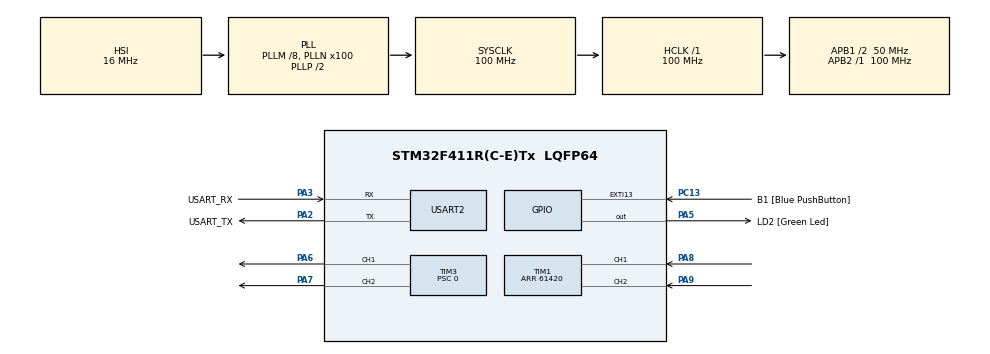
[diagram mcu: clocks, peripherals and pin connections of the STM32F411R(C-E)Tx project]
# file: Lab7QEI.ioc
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Mcu.Family=STM32F4
Mcu.Name=STM32F411R(C-E)Tx
Mcu.Package=LQFP64
NVIC.PriorityGroup=NVIC_PRIORITYGROUP_0
NVIC.TIM2_IRQn=true\:0\:0\:false\:false\:true\:true\:true
PA13.GPIO_Label=TMS
PA13.Mode=Serial_Wire
PA13.Signal=SYS_JTMS-SWDIO
PA14.GPIO_Label=TCK
PA14.Mode=Serial_Wire
PA14.Signal=SYS_JTCK-SWCLK
PA2.GPIO_Label=USART_TX
PA2.Mode=Asynchronous
PA2.Signal=USART2_TX
PA3.GPIO_Label=USART_RX
PA3.Mode=Asynchronous
PA3.Signal=USART2_RX
PA5.GPIO_Label=LD2 [Green Led]
PA5.Signal=GPIO_Output
PA6.Signal=S_TIM3_CH1
PA7.Signal=S_TIM3_CH2
PA8.Signal=S_TIM1_CH1
PA9.Signal=S_TIM1_CH2
PB3.GPIO_Label=SWO
PB3.Signal=SYS_JTDO-SWO
PC13-ANTI_TAMP.GPIO_Label=B1 [Blue PushButton]
PC13-ANTI_TAMP.GPIO_ModeDefaultEXTI=GPIO_MODE_IT_FALLING
PC13-ANTI_TAMP.Signal=GPXTI13
PC14-OSC32_IN.Mode=LSE-External-Oscillator
PC14-OSC32_IN.Signal=RCC_OSC32_IN
PC15-OSC32_OUT.Mode=LSE-External-Oscillator
PC15-OSC32_OUT.Signal=RCC_OSC32_OUT
PH0\ -\ OSC_IN.Mode=HSE-External-Clock-Source
PH0\ -\ OSC_IN.Signal=RCC_OSC_IN
PH1\ -\ OSC_OUT.Mode=HSE-External-Clock-Source
PH1\ -\ OSC_OUT.Signal=RCC_OSC_OUT
ProjectManager.HeapSize=0x200
ProjectManager.StackSize=0x400
ProjectManager.TargetToolchain=STM32CubeIDE
RCC.48MHZClocksFreq_Value=50000000
RCC.AHBFreq_Value=100000000
RCC.APB1CLKDivider=RCC_HCLK_DIV2
RCC.APB1Freq_Value=50000000
RCC.APB1TimFreq_Value=100000000
RCC.APB2Freq_Value=100000000
RCC.APB2TimFreq_Value=100000000
RCC.CortexFreq_Value=100000000
RCC.FLatency-AdvancedSettings=FLASH_LATENCY_3
RCC.HCLKFreq_Value=100000000
RCC.HSE_VALUE=8000000
RCC.HSI_VALUE=16000000
RCC.PLLM=8
RCC.PLLN=100
RCC.SYSCLKFreq_VALUE=100000000
RCC.SYSCLKSource=RCC_SYSCLKSOURCE_PLLCLK
RCC.VCOOutputFreq_Value=200000000
SH.S_TIM1_CH1.0=TIM1_CH1,Encoder_Interface
SH.S_TIM1_CH2.0=TIM1_CH2,Encoder_Interface
SH.S_TIM3_CH1.0=TIM3_CH1,PWM Generation1 CH1
SH.S_TIM3_CH2.0=TIM3_CH2,PWM Generation2 CH2
TIM1.EncoderMode=TIM_ENCODERMODE_TI12
TIM1.Period=61420
TIM2.Prescaler=99
TIM3.Channel-PWM\ Generation1\ CH1=TIM_CHANNEL_1
TIM3.Channel-PWM\ Generation2\ CH2=TIM_CHANNEL_2
TIM3.Period=10000
TIM3.Prescaler=0
TIM3.TIM_MasterOutputTrigger=TIM_TRGO_RESET
USART2.VirtualMode=VM_ASYNC
VP_TIM2_VS_ClockSourceINT.Mode=Internal
VP_TIM3_VS_ClockSourceINT.Mode=Internal
board=NUCLEO-F411RE

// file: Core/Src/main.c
/* USER CODE BEGIN Header */
/**
 ******************************************************************************
 * @file           : main.c
 * @brief          : Main program body
 ******************************************************************************
 * @attention
 *
 * <h2><center>&copy; Copyright (c) 2021 STMicroelectronics.
 * All rights reserved.</center></h2>
 *
 * This software component is licensed by ST under BSD 3-Clause license,
 * the "License"; You may not use this file except in compliance with the
 * License. You may obtain a copy of the License at:
 *                        opensource.org/licenses/BSD-3-Clause
 *
 ******************************************************************************
 */
/* USER CODE END Header */
#include "main.h"

TIM_HandleTypeDef htim1;
TIM_HandleTypeDef htim2;
TIM_HandleTypeDef htim3;

UART_HandleTypeDef huart2;

/* USER CODE BEGIN PV */
uint64_t _micros = 0;
float EncoderVel = 0;
uint64_t Timestamp_Encoder = 0;

uint16_t PWMOut = 3000;

int setPoint = 15; //in RPM

//control
float uControl,sumError,preError = 0; // u,s,p
float error = 0;
float P=1,I=0,D=0;					  // PID

float RPMnow = 0;					  // from encoder

int sp = 0;
float nv = 0;
float offset = 0.5;

//int count = 0;
//int check = 0;

/* USER CODE END PV */

void SystemClock_Config(void);
static void MX_GPIO_Init(void);
static void MX_USART2_UART_Init(void);
static void MX_TIM1_Init(void);
static void MX_TIM2_Init(void);
static void MX_TIM3_Init(void);
/* USER CODE BEGIN PFP */

uint64_t micros();
float EncoderVelocity_Update();
void PIDcontrol();

/* USER CODE END PFP */

int main(void)
{

  /* MCU Configuration--------------------------------------------------------*/

  /* Reset of all peripherals, Initializes the Flash interface and the Systick. */
  HAL_Init();

  /* Configure the system clock */
  SystemClock_Config();

  /* Initialize all configured peripherals */
  MX_GPIO_Init();
  MX_USART2_UART_Init();
  MX_TIM1_Init();
  MX_TIM2_Init();
  MX_TIM3_Init();
  /* USER CODE BEGIN 2 */
	// start micros
	HAL_TIM_Base_Start_IT(&htim2);

	// start encoder
	HAL_TIM_Encoder_Start(&htim1, TIM_CHANNEL_ALL);

	// start pwm
	HAL_TIM_Base_Start(&htim3);
	HAL_TIM_PWM_Start(&htim3, TIM_CHANNEL_1);
	HAL_TIM_PWM_Start(&htim3, TIM_CHANNEL_2);

  /* USER CODE END 2 */

  /* Infinite loop */
	while (1)
	{

    /* USER CODE BEGIN 3 */

		//RAW Read
//		if (micros() - Timestamp_Encoder >= 1000)
//		{
//			Timestamp_Encoder = micros();
//			EncoderVel = EncoderVelocity_Update();
//		}

		//Add LPF?
		if (micros() - Timestamp_Encoder >= 1000) //mico
		{
			Timestamp_Encoder = micros();
			EncoderVel = (EncoderVel * 99 + EncoderVelocity_Update()) / 100.0;

			PIDcontrol();

			if (setPoint > 0)
			{
//				check = 0;
//				PWMOut += PIDcontrol(setPoint,EncoderVel);
				__HAL_TIM_SET_COMPARE(&htim3, TIM_CHANNEL_1, PWMOut);
				__HAL_TIM_SET_COMPARE(&htim3, TIM_CHANNEL_2, 0);
			}
			else if (setPoint == 0)
			{
				__HAL_TIM_SET_COMPARE(&htim3, TIM_CHANNEL_1, 0);
				__HAL_TIM_SET_COMPARE(&htim3, TIM_CHANNEL_2, 0);
			}
			else
			{
//				check = 1;
//				PWMOut += PIDcontrol(setPoint*(-1),EncoderVel*(-1));
				__HAL_TIM_SET_COMPARE(&htim3, TIM_CHANNEL_1, 0);
				__HAL_TIM_SET_COMPARE(&htim3, TIM_CHANNEL_2, PWMOut);
			}

		}

	}
  /* USER CODE END 3 */
}

void SystemClock_Config(void)
{
  RCC_OscInitTypeDef RCC_OscInitStruct = {0};
  RCC_ClkInitTypeDef RCC_ClkInitStruct = {0};

  /** Configure the main internal regulator output voltage
  */
  __HAL_RCC_PWR_CLK_ENABLE();
  __HAL_PWR_VOLTAGESCALING_CONFIG(PWR_REGULATOR_VOLTAGE_SCALE1);
  /** Initializes the RCC Oscillators according to the specified parameters
  * in the RCC_OscInitTypeDef structure.
  */
  RCC_OscInitStruct.OscillatorType = RCC_OSCILLATORTYPE_HSI;
  RCC_OscInitStruct.HSIState = RCC_HSI_ON;
  RCC_OscInitStruct.HSICalibrationValue = RCC_HSICALIBRATION_DEFAULT;
  RCC_OscInitStruct.PLL.PLLState = RCC_PLL_ON;
  RCC_OscInitStruct.PLL.PLLSource = RCC_PLLSOURCE_HSI;
  RCC_OscInitStruct.PLL.PLLM = 8;
  RCC_OscInitStruct.PLL.PLLN = 100;
  RCC_OscInitStruct.PLL.PLLP = RCC_PLLP_DIV2;
  RCC_OscInitStruct.PLL.PLLQ = 4;
  if (HAL_RCC_OscConfig(&RCC_OscInitStruct) != HAL_OK)
  {
    Error_Handler();
  }
  /** Initializes the CPU, AHB and APB buses clocks
  */
  RCC_ClkInitStruct.ClockType = RCC_CLOCKTYPE_HCLK|RCC_CLOCKTYPE_SYSCLK
                              |RCC_CLOCKTYPE_PCLK1|RCC_CLOCKTYPE_PCLK2;
  RCC_ClkInitStruct.SYSCLKSource = RCC_SYSCLKSOURCE_PLLCLK;
  RCC_ClkInitStruct.AHBCLKDivider = RCC_SYSCLK_DIV1;
  RCC_ClkInitStruct.APB1CLKDivider = RCC_HCLK_DIV2;
  RCC_ClkInitStruct.APB2CLKDivider = RCC_HCLK_DIV1;

  if (HAL_RCC_ClockConfig(&RCC_ClkInitStruct, FLASH_LATENCY_3) != HAL_OK)
  {
    Error_Handler();
  }
}

static void MX_TIM1_Init(void)
{

  TIM_Encoder_InitTypeDef sConfig = {0};
  TIM_MasterConfigTypeDef sMasterConfig = {0};

  htim1.Instance = TIM1;
  htim1.Init.Prescaler = 0;
  htim1.Init.CounterMode = TIM_COUNTERMODE_UP;
  htim1.Init.Period = 61420;
  htim1.Init.ClockDivision = TIM_CLOCKDIVISION_DIV1;
  htim1.Init.RepetitionCounter = 0;
  htim1.Init.AutoReloadPreload = TIM_AUTORELOAD_PRELOAD_DISABLE;
  sConfig.EncoderMode = TIM_ENCODERMODE_TI12;
  sConfig.IC1Polarity = TIM_ICPOLARITY_RISING;
  sConfig.IC1Selection = TIM_ICSELECTION_DIRECTTI;
  sConfig.IC1Prescaler = TIM_ICPSC_DIV1;
  sConfig.IC1Filter = 0;
  sConfig.IC2Polarity = TIM_ICPOLARITY_RISING;
  sConfig.IC2Selection = TIM_ICSELECTION_DIRECTTI;
  sConfig.IC2Prescaler = TIM_ICPSC_DIV1;
  sConfig.IC2Filter = 0;
  if (HAL_TIM_Encoder_Init(&htim1, &sConfig) != HAL_OK)
  {
    Error_Handler();
  }
  sMasterConfig.MasterOutputTrigger = TIM_TRGO_RESET;
  sMasterConfig.MasterSlaveMode = TIM_MASTERSLAVEMODE_DISABLE;
  if (HAL_TIMEx_MasterConfigSynchronization(&htim1, &sMasterConfig) != HAL_OK)
  {
    Error_Handler();
  }

}

static void MX_TIM2_Init(void)
{

  TIM_ClockConfigTypeDef sClockSourceConfig = {0};
  TIM_MasterConfigTypeDef sMasterConfig = {0};

  htim2.Instance = TIM2;
  htim2.Init.Prescaler = 99;
  htim2.Init.CounterMode = TIM_COUNTERMODE_UP;
  htim2.Init.Period = 4294967295;
  htim2.Init.ClockDivision = TIM_CLOCKDIVISION_DIV1;
  htim2.Init.AutoReloadPreload = TIM_AUTORELOAD_PRELOAD_DISABLE;
  if (HAL_TIM_Base_Init(&htim2) != HAL_OK)
  {
    Error_Handler();
  }
  sClockSourceConfig.ClockSource = TIM_CLOCKSOURCE_INTERNAL;
  if (HAL_TIM_ConfigClockSource(&htim2, &sClockSourceConfig) != HAL_OK)
  {
    Error_Handler();
  }
  sMasterConfig.MasterOutputTrigger = TIM_TRGO_RESET;
  sMasterConfig.MasterSlaveMode = TIM_MASTERSLAVEMODE_DISABLE;
  if (HAL_TIMEx_MasterConfigSynchronization(&htim2, &sMasterConfig) != HAL_OK)
  {
    Error_Handler();
  }

}

static void MX_TIM3_Init(void)
{

  TIM_ClockConfigTypeDef sClockSourceConfig = {0};
  TIM_MasterConfigTypeDef sMasterConfig = {0};
  TIM_OC_InitTypeDef sConfigOC = {0};

  htim3.Instance = TIM3;
  htim3.Init.Prescaler = 0;
  htim3.Init.CounterMode = TIM_COUNTERMODE_UP;
  htim3.Init.Period = 10000;
  htim3.Init.ClockDivision = TIM_CLOCKDIVISION_DIV1;
  htim3.Init.AutoReloadPreload = TIM_AUTORELOAD_PRELOAD_DISABLE;
  if (HAL_TIM_Base_Init(&htim3) != HAL_OK)
  {
    Error_Handler();
  }
  sClockSourceConfig.ClockSource = TIM_CLOCKSOURCE_INTERNAL;
  if (HAL_TIM_ConfigClockSource(&htim3, &sClockSourceConfig) != HAL_OK)
  {
    Error_Handler();
  }
  if (HAL_TIM_PWM_Init(&htim3) != HAL_OK)
  {
    Error_Handler();
  }
  sMasterConfig.MasterOutputTrigger = TIM_TRGO_RESET;
  sMasterConfig.MasterSlaveMode = TIM_MASTERSLAVEMODE_DISABLE;
  if (HAL_TIMEx_MasterConfigSynchronization(&htim3, &sMasterConfig) != HAL_OK)
  {
    Error_Handler();
  }
  sConfigOC.OCMode = TIM_OCMODE_PWM1;
  sConfigOC.Pulse = 0;
  sConfigOC.OCPolarity = TIM_OCPOLARITY_HIGH;
  sConfigOC.OCFastMode = TIM_OCFAST_DISABLE;
  if (HAL_TIM_PWM_ConfigChannel(&htim3, &sConfigOC, TIM_CHANNEL_1) != HAL_OK)
  {
    Error_Handler();
  }
  if (HAL_TIM_PWM_ConfigChannel(&htim3, &sConfigOC, TIM_CHANNEL_2) != HAL_OK)
  {
    Error_Handler();
  }
  HAL_TIM_MspPostInit(&htim3);

}

static void MX_USART2_UART_Init(void)
{

  huart2.Instance = USART2;
  huart2.Init.BaudRate = 115200;
  huart2.Init.WordLength = UART_WORDLENGTH_8B;
  huart2.Init.StopBits = UART_STOPBITS_1;
  huart2.Init.Parity = UART_PARITY_NONE;
  huart2.Init.Mode = UART_MODE_TX_RX;
  huart2.Init.HwFlowCtl = UART_HWCONTROL_NONE;
  huart2.Init.OverSampling = UART_OVERSAMPLING_16;
  if (HAL_UART_Init(&huart2) != HAL_OK)
  {
    Error_Handler();
  }

}

static void MX_GPIO_Init(void)
{
  GPIO_InitTypeDef GPIO_InitStruct = {0};

  /* GPIO Ports Clock Enable */
  __HAL_RCC_GPIOC_CLK_ENABLE();
  __HAL_RCC_GPIOH_CLK_ENABLE();
  __HAL_RCC_GPIOA_CLK_ENABLE();
  __HAL_RCC_GPIOB_CLK_ENABLE();

  /*Configure GPIO pin Output Level */
  HAL_GPIO_WritePin(LD2_GPIO_Port, LD2_Pin, GPIO_PIN_RESET);

  /*Configure GPIO pin : B1_Pin */
  GPIO_InitStruct.Pin = B1_Pin;
  GPIO_InitStruct.Mode = GPIO_MODE_IT_FALLING;
  GPIO_InitStruct.Pull = GPIO_NOPULL;
  HAL_GPIO_Init(B1_GPIO_Port, &GPIO_InitStruct);

  /*Configure GPIO pin : LD2_Pin */
  GPIO_InitStruct.Pin = LD2_Pin;
  GPIO_InitStruct.Mode = GPIO_MODE_OUTPUT_PP;
  GPIO_InitStruct.Pull = GPIO_NOPULL;
  GPIO_InitStruct.Speed = GPIO_SPEED_FREQ_LOW;
  HAL_GPIO_Init(LD2_GPIO_Port, &GPIO_InitStruct);

}

/* USER CODE BEGIN 4 */
#define  HTIM_ENCODER htim1
#define  MAX_SUBPOSITION_OVERFLOW 30720
#define  MAX_ENCODER_PERIOD 61440 // 3072*20

float EncoderVelocity_Update()
{
	//Save Last state
	static uint32_t EncoderLastPosition = 0;
	static uint64_t EncoderLastTimestamp = 0;

	//read data
	uint32_t EncoderNowPosition = HTIM_ENCODER.Instance->CNT;
	uint64_t EncoderNowTimestamp = micros();

	int32_t EncoderPositionDiff;
	uint64_t EncoderTimeDiff;

	EncoderTimeDiff = EncoderNowTimestamp - EncoderLastTimestamp;
	EncoderPositionDiff = EncoderNowPosition - EncoderLastPosition;

	//compensate overflow and underflow
	if (EncoderPositionDiff >= MAX_SUBPOSITION_OVERFLOW)
	{
		EncoderPositionDiff -= MAX_ENCODER_PERIOD;
	}
	else if (-EncoderPositionDiff >= MAX_SUBPOSITION_OVERFLOW)
	{
		EncoderPositionDiff += MAX_ENCODER_PERIOD;
	}

	//Update Position and time
	EncoderLastPosition = EncoderNowPosition;
	EncoderLastTimestamp = EncoderNowTimestamp;

	//Calculate velocity
	//EncoderTimeDiff is in uS
	return (EncoderPositionDiff * 1000000) / (float) EncoderTimeDiff;

}

void PIDcontrol()   // sp(setPoint),nv(EncoderVel)
{

	if (setPoint < 0)
	{
		sp = setPoint*(-1);
		nv = EncoderVel*(-1);
	}
	else
	{
		sp = setPoint ;
		nv = EncoderVel ;
	}

//	sp = setPoint ;
//	nv = EncoderVel ;

	RPMnow = EncoderVel*0.01953125; // 60/3072 = 0.01953125

	error = sp - (nv*0.01953125);
	sumError = sumError + error;
	uControl = (P*error)+((I/1000)*sumError)+(D*1000*(error-preError))+offset;

//	uc = uControl;

	PWMOut += uControl;

//	if (setPoint < 0)
//	{
//		PWMOut -= uControl;
//	}
//	else
//	{
//		PWMOut += uControl;
//	}

	preError = error;

}

void HAL_TIM_PeriodElapsedCallback(TIM_HandleTypeDef *htim)
{
	if (htim == &htim2)
	{
		_micros += 4294967295;
	}
}
uint64_t micros()
{
	return _micros + htim2.Instance->CNT;
}
/* USER CODE END 4 */

void Error_Handler(void)
{
	__disable_irq();
	while (1)
	{
	}
}

/************************ (C) COPYRIGHT STMicroelectronics *****END OF FILE****/
